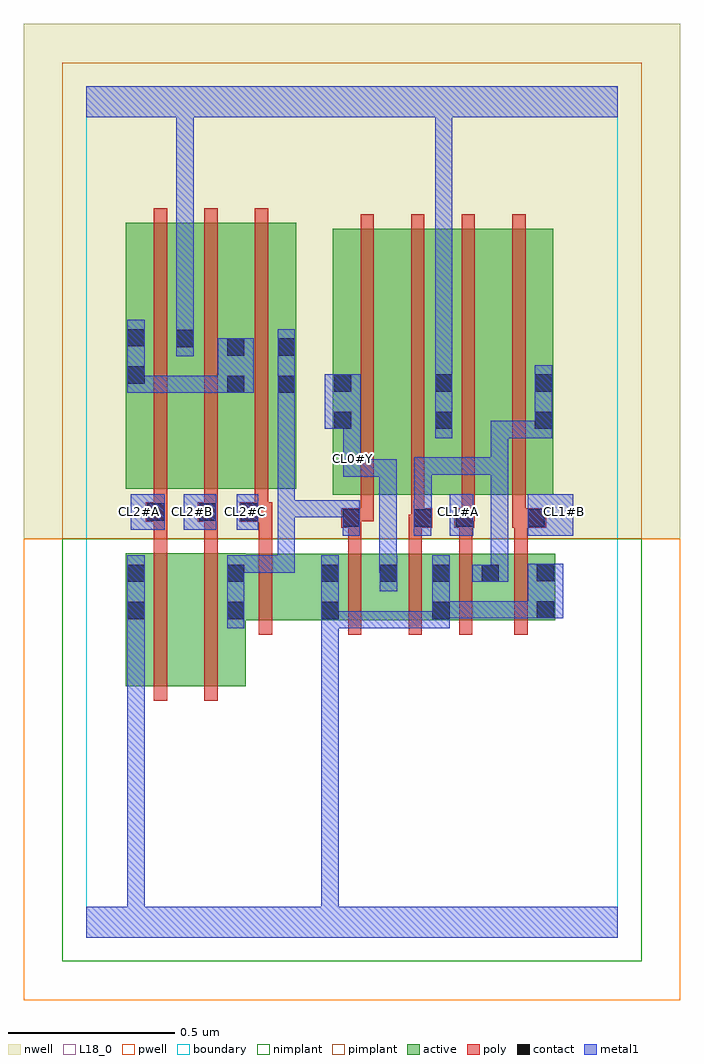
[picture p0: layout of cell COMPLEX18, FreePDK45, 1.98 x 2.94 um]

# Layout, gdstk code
import gdstk
lib = gdstk.Library(unit=1e-6, precision=1e-09)
def R(c, l, rs):  # rectangles x0, y0, x1, y1
    for r in rs: c.add(gdstk.rectangle(r[:2], r[2:], *l))
def A(c, l, x, y, w, h, nx, ny, dx, dy):  # array of equal rectangles
    R(c, l, [(x+i*dx, y+j*dy, x+i*dx+w, y+j*dy+h) for i in range(nx) for j in range(ny)])
active = (1, 0)
pwell = (2, 0)
nwell = (3, 0)
nimplant = (4, 0)
pimplant = (5, 0)
poly = (9, 0)
contact = (10, 0)
metal1 = (11, 0)
L18_0 = (18, 0)
boundary = (235, 0)

complex18 = lib.new_cell('COMPLEX18')
R(complex18, active, [(0.12,0.756,0.3,1.156), (0.12,0.756,0.18,1.156), (0.3,0.756,0.48,1.156), (0.42,0.954,0.48,1.154), (0.42,0.954,0.764,1.154), (0.704,0.954,0.94,1.154), (0.704,0.954,0.764,1.126), (0.88,0.954,1.098,1.154), (1.038,0.954,1.246,1.154), (1.038,0.954,1.098,1.154), (1.186,0.954,1.412,1.154), (0.88,0.956,0.94,1.154), (1.186,0.956,1.246,1.154), (1.352,0.956,1.412,1.154), (0.742,1.332,0.802,2.044), (0.742,1.332,0.922,2.132), (0.922,1.332,1.106,2.132), (1.046,1.332,1.106,2.044), (1.046,1.332,1.226,2.132), (1.226,1.332,1.406,2.132), (1.346,1.332,1.406,2.044), (0.12,1.35,0.18,2.044), (0.12,1.35,0.328,2.15), (0.268,1.35,0.48,2.15), (0.42,1.35,0.48,2.044), (0.42,1.35,0.632,2.15), (0.572,1.35,0.632,2.044), (0.268,1.686,0.328,2.044)])
R(complex18, pwell, [(-0.188,-0.188,1.788,1.2)])
R(complex18, nwell, [(-0.188,1.2,1.788,2.748)])
R(complex18, nimplant, [(-0.072,-0.072,1.672,1.2)])
R(complex18, pimplant, [(-0.072,1.2,1.672,2.632)])
A(complex18, poly, 0.826, 1.252, 0.04, 0.076, 4, 1, 0.152, 0)
A(complex18, poly, 0.204, 1.27, 0.04, 0.076, 3, 1, 0.152, 0)
A(complex18, poly, 0.826, 1.288, 0.04, 0.888, 4, 1, 0.152, 0)
A(complex18, poly, 0.204, 1.306, 0.04, 0.888, 3, 1, 0.152, 0)
R(complex18, poly, [(0.204,0.712,0.244,1.2), (0.356,0.712,0.396,1.2), (0.52,0.91,0.56,1.198), (0.788,0.91,0.828,1.198), (0.97,0.91,1.01,1.198), (1.122,0.91,1.162,1.198), (1.288,0.91,1.328,1.198), (0.52,1.158,0.56,1.29), (0.788,1.158,0.828,1.272), (0.97,1.158,1.01,1.272), (1.122,1.158,1.162,1.272), (1.288,1.158,1.328,1.272), (0.204,1.16,0.244,1.29), (0.356,1.16,0.396,1.29), (0.768,1.232,0.828,1.292), (0.97,1.232,1.018,1.272), (0.978,1.232,1.018,1.272), (0.978,1.232,1.042,1.292), (1.108,1.232,1.168,1.292), (1.282,1.232,1.384,1.292), (1.288,1.232,1.328,1.272), (1.288,1.232,1.328,1.272), (0.18,1.25,0.244,1.31), (0.336,1.25,0.396,1.31), (0.462,1.25,0.56,1.31), (0.788,1.252,0.828,1.292), (0.788,1.252,0.866,1.292), (1.128,1.252,1.168,1.292), (1.128,1.252,1.17,1.292), (0.204,1.27,0.244,1.31), (0.204,1.27,0.244,1.31), (0.356,1.27,0.396,1.31), (0.356,1.27,0.396,1.31), (0.508,1.27,0.548,1.31), (0.508,1.27,0.548,1.31)])
R(complex18, contact, [(0.124,0.958,0.176,1.01), (0.424,0.958,0.476,1.01), (0.708,0.958,0.76,1.01), (1.042,0.958,1.094,1.01), (1.356,0.96,1.408,1.012), (0.124,1.07,0.176,1.122), (0.424,1.07,0.476,1.122), (0.708,1.07,0.76,1.122), (0.884,1.07,0.936,1.122), (1.042,1.07,1.094,1.122), (1.19,1.07,1.242,1.122), (1.356,1.072,1.408,1.124), (0.772,1.236,0.824,1.288), (0.986,1.236,1.038,1.288), (1.112,1.236,1.164,1.288), (1.328,1.236,1.38,1.288), (0.184,1.254,0.236,1.306), (0.34,1.254,0.392,1.306), (0.466,1.254,0.518,1.306), (0.746,1.53,0.798,1.582), (1.05,1.53,1.102,1.582), (1.35,1.53,1.402,1.582), (0.424,1.638,0.476,1.69), (0.576,1.638,0.628,1.69), (0.746,1.642,0.798,1.694), (1.05,1.642,1.102,1.694), (1.35,1.642,1.402,1.694), (0.124,1.666,0.176,1.718), (0.424,1.75,0.476,1.802), (0.576,1.75,0.628,1.802), (0.272,1.776,0.324,1.828), (0.124,1.778,0.176,1.83)])
R(complex18, metal1, [(0,0,1.6,0.092), (0.124,0.04,0.176,0.982), (0.708,0.04,0.76,0.092), (0.708,0.04,0.76,0.092), (0.708,0.04,0.76,0.092), (0.708,0.04,0.76,0.092), (0.708,0.04,0.76,0.092), (0.708,0.04,0.76,0.092), (0.708,0.04,0.76,0.092), (0.708,0.04,0.76,0.092), (0.708,0.04,0.76,0.092), (0.708,0.04,0.76,0.092), (0.708,0.04,0.76,0.092), (0.708,0.04,0.76,0.092), (0.708,0.04,0.76,0.092), (0.708,0.04,0.76,0.092), (0.708,0.04,0.76,0.982), (0.124,0.93,0.176,0.982), (0.124,0.93,0.176,0.982), (0.124,0.93,0.176,0.982), (0.124,0.93,0.176,0.982), (0.124,0.93,0.176,0.982), (0.124,0.93,0.176,0.982), (0.124,0.93,0.176,0.982), (0.124,0.93,0.176,0.982), (0.124,0.93,0.176,0.982), (0.124,0.93,0.176,0.982), (0.124,0.93,0.176,0.982), (0.124,0.93,0.176,0.982), (0.124,0.93,0.176,1.15), (0.424,0.93,0.476,1.15), (0.708,0.93,0.76,0.982), (0.708,0.93,0.76,0.982), (0.708,0.93,0.76,1.15), (0.708,0.93,0.824,0.982), (0.772,0.93,0.824,0.982), (0.772,0.93,0.934,0.982), (0.882,0.93,0.934,0.982), (0.882,0.93,0.936,0.982), (0.884,0.93,0.936,0.982), (0.884,0.93,1.094,0.982), (1.042,0.93,1.094,1.15), (1.042,0.96,1.204,1.012), (1.152,0.96,1.204,1.012), (1.152,0.96,1.204,1.012), (1.152,0.96,1.204,1.012), (1.152,0.96,1.38,1.012), (1.328,0.96,1.38,1.012), (1.328,0.96,1.38,1.012), (1.328,0.96,1.436,1.124), (0.884,1.042,0.936,1.15), (1.162,1.07,1.27,1.122), (1.218,1.07,1.27,1.444), (0.424,1.098,0.476,1.15), (0.424,1.098,0.476,1.15), (0.424,1.098,0.628,1.15), (0.576,1.098,0.628,1.15), (0.576,1.098,0.628,1.316), (0.882,1.098,0.936,1.15), (0.882,1.098,0.934,1.438), (0.884,1.098,0.936,1.15), (0.772,1.208,0.824,1.316), (0.986,1.208,1.038,1.316), (1.094,1.208,1.164,1.334), (1.328,1.208,1.466,1.334), (0.134,1.226,0.236,1.334), (0.294,1.226,0.392,1.334), (0.454,1.226,0.518,1.334), (0.576,1.264,0.628,1.316), (0.576,1.264,0.628,1.316), (0.576,1.264,0.628,1.316), (0.576,1.264,0.824,1.316), (0.576,1.264,0.628,1.662), (0.986,1.264,1.04,1.316), (0.988,1.264,1.04,1.444), (0.774,1.386,0.826,1.438), (0.774,1.386,0.826,1.438), (0.774,1.386,0.826,1.494), (0.774,1.386,0.934,1.438), (0.882,1.386,0.934,1.438), (0.988,1.392,1.27,1.444), (1.218,1.392,1.27,1.444), (1.218,1.392,1.27,1.444), (1.218,1.392,1.27,1.444), (1.218,1.392,1.27,1.444), (1.218,1.392,1.27,1.444), (1.218,1.392,1.27,1.554), (0.774,1.442,0.826,1.582), (1.05,1.502,1.102,1.722), (1.218,1.502,1.27,1.554), (1.218,1.502,1.402,1.554), (1.35,1.502,1.402,1.554), (1.35,1.502,1.402,1.554), (1.35,1.502,1.402,1.722), (0.718,1.53,0.826,1.694), (0.576,1.61,0.628,1.662), (0.576,1.61,0.628,1.662), (0.576,1.61,0.628,1.83), (0.124,1.638,0.176,1.69), (0.124,1.638,0.176,1.69), (0.124,1.638,0.176,1.858), (0.124,1.638,0.338,1.69), (0.286,1.638,0.338,1.69), (0.286,1.638,0.338,1.69), (0.286,1.638,0.338,1.69), (0.286,1.638,0.448,1.69), (0.396,1.638,0.504,1.802), (1.05,1.67,1.102,1.722), (1.05,1.67,1.102,1.722), (1.05,1.67,1.102,2.52), (0.272,1.748,0.324,1.856), (0.272,1.804,0.324,1.856), (0.272,1.804,0.324,1.856), (0.272,1.804,0.324,1.856), (0.272,1.804,0.324,1.856), (0.272,1.804,0.324,1.856), (0.272,1.804,0.324,1.856), (0.272,1.804,0.324,1.856), (0.272,1.804,0.324,1.856), (0.272,1.804,0.324,2.52), (0,2.468,1.6,2.56), (1.05,2.468,1.102,2.52), (1.05,2.468,1.102,2.52), (1.05,2.468,1.102,2.52), (1.05,2.468,1.102,2.52), (1.05,2.468,1.102,2.52), (1.05,2.468,1.102,2.52)])
A(complex18, L18_0, 0.134, 1.254, 0.052, 0.052, 3, 1, 0.16, 0)
R(complex18, L18_0, [(0,0,1.6,0.092), (0.124,0.04,0.176,0.982), (0.708,0.04,0.76,0.092), (0.708,0.04,0.76,0.092), (0.708,0.04,0.76,0.092), (0.708,0.04,0.76,0.092), (0.708,0.04,0.76,0.092), (0.708,0.04,0.76,0.092), (0.708,0.04,0.76,0.092), (0.708,0.04,0.76,0.092), (0.708,0.04,0.76,0.092), (0.708,0.04,0.76,0.092), (0.708,0.04,0.76,0.092), (0.708,0.04,0.76,0.092), (0.708,0.04,0.76,0.092), (0.708,0.04,0.76,0.092), (0.708,0.04,0.76,0.982), (0.124,0.93,0.176,0.982), (0.124,0.93,0.176,0.982), (0.124,0.93,0.176,0.982), (0.124,0.93,0.176,0.982), (0.124,0.93,0.176,0.982), (0.124,0.93,0.176,0.982), (0.124,0.93,0.176,0.982), (0.124,0.93,0.176,0.982), (0.124,0.93,0.176,0.982), (0.124,0.93,0.176,0.982), (0.124,0.93,0.176,0.982), (0.124,0.93,0.176,0.982), (0.124,0.93,0.176,1.15), (0.708,0.93,0.76,0.982), (0.708,0.93,0.76,0.982), (0.708,0.93,0.76,1.15), (0.708,0.93,0.824,0.982), (0.772,0.93,0.824,0.982), (0.772,0.93,0.934,0.982), (0.882,0.93,0.934,0.982), (0.882,0.93,0.936,0.982), (0.884,0.93,0.936,0.982), (0.884,0.93,1.094,0.982), (1.042,0.93,1.094,1.15), (1.042,0.96,1.204,1.012), (1.152,0.96,1.204,1.012), (1.152,0.96,1.204,1.012), (1.152,0.96,1.204,1.012), (1.152,0.96,1.38,1.012), (1.328,0.96,1.38,1.012), (1.328,0.96,1.38,1.012), (1.328,0.96,1.436,1.124), (0.884,1.042,0.936,1.15), (0.882,1.098,0.936,1.15), (0.882,1.098,0.934,1.438), (0.884,1.098,0.936,1.15), (1.094,1.208,1.164,1.334), (1.328,1.208,1.466,1.334), (0.134,1.226,0.236,1.334), (0.294,1.226,0.392,1.334), (0.454,1.226,0.518,1.334), (1.094,1.254,1.146,1.306), (1.414,1.254,1.466,1.306), (0.774,1.386,0.826,1.438), (0.774,1.386,0.826,1.438), (0.774,1.386,0.826,1.494), (0.774,1.386,0.934,1.438), (0.882,1.386,0.934,1.438), (0.774,1.414,0.826,1.466), (0.774,1.442,0.826,1.582), (1.05,1.502,1.102,1.722), (0.718,1.53,0.826,1.694), (1.05,1.67,1.102,1.722), (1.05,1.67,1.102,1.722), (1.05,1.67,1.102,2.52), (0.272,1.748,0.324,1.856), (0.272,1.804,0.324,1.856), (0.272,1.804,0.324,1.856), (0.272,1.804,0.324,1.856), (0.272,1.804,0.324,1.856), (0.272,1.804,0.324,1.856), (0.272,1.804,0.324,1.856), (0.272,1.804,0.324,1.856), (0.272,1.804,0.324,1.856), (0.272,1.804,0.324,2.52), (0,2.468,1.6,2.56), (1.05,2.468,1.102,2.52), (1.05,2.468,1.102,2.52), (1.05,2.468,1.102,2.52), (1.05,2.468,1.102,2.52), (1.05,2.468,1.102,2.52), (1.05,2.468,1.102,2.52)])
R(complex18, boundary, [(0,0,1.6,2.56)])
complex18.add(gdstk.Label('CL0#Y', (0.8,1.44), layer=11, texttype=0))
complex18.add(gdstk.Label('CL1#A', (1.12,1.28), layer=11, texttype=0))
complex18.add(gdstk.Label('CL1#B', (1.44,1.28), layer=11, texttype=0))
complex18.add(gdstk.Label('CL2#A', (0.16,1.28), layer=11, texttype=0))
complex18.add(gdstk.Label('CL2#B', (0.32,1.28), layer=11, texttype=0))
complex18.add(gdstk.Label('CL2#C', (0.48,1.28), layer=11, texttype=0))

lib.write_gds('COMPLEX18.gds')
